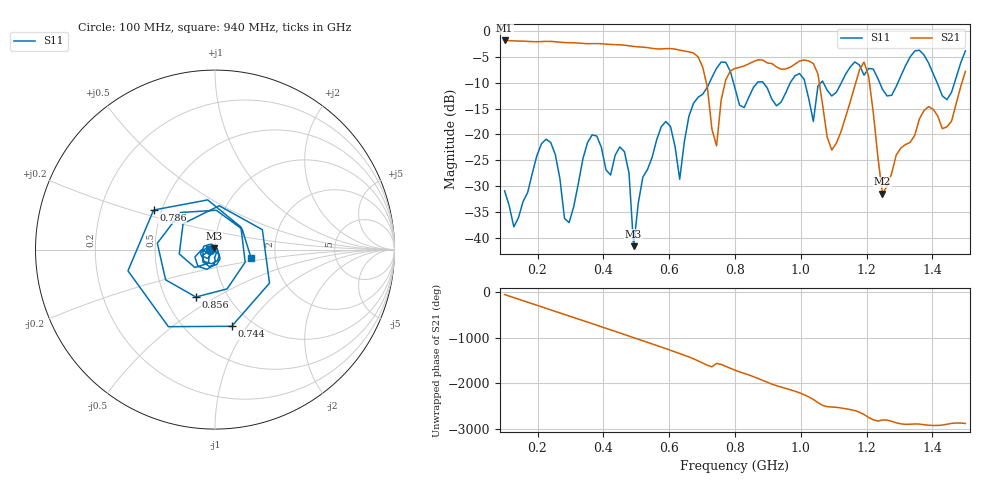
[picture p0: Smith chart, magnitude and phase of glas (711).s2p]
! NanoVNA-App
! Date: 2025-09-25 16:01:01
! Start: 100MHz Stop: 1,5GHz Points: 101
! S-Parameter data: F S11 S21 S12 S22
# Hz S RI R 50
!  Frequency  S11_Real  S11_Imag  S21_Real  S21_Imag  S12_Real  S12_Imag  S22_Real  S22_Imag
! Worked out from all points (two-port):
!   101 points, 100 MHz to 1.5 GHz, reference 50 ohm
!   highest |S21| = -1.80 dB at 100 MHz (marker M1); lowest = -31.5 dB at 1.248 GHz (marker M2)
!   |S21| within 3 dB of the highest: start of sweep to 684.6 MHz
!   lowest |S11| = -41.6 dB at 492 MHz (marker M3), VSWR 1.02, Z = 49.5 + j0.626 ohm
!   |S11| at or under -10 dB: start of sweep to 722.3 MHz; 795.4 MHz to 867.8 MHz (72.33 MHz wide, 8.7 % of centre); 886.2 MHz to 967.8 MHz (81.53 MHz wide, 8.8 % of centre)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
!   S12 and S22 are empty: the file has one direction only
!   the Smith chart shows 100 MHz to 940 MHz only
!   S11 on the Smith chart (normalised r, x): 100 MHz: 0.94, -0.01; 744 MHz: 0.80, -0.85; 786 MHz: 0.45, +0.24; 856 MHz: 0.71, -0.41; 940 MHz: 1.49, -0.14
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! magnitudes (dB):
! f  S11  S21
! 100 MHz  -30.9  -1.8
! 128 MHz  -37.9  -1.9
! 226 MHz  -20.9  -2.0
! 296 MHz  -37.1  -2.2
! 338 MHz  -24.7  -2.4
! 464 MHz  -23.3  -2.7
! 492 MHz  -41.6  -3.0
! 576 MHz  -18.5  -3.5
! 632 MHz  -28.7  -3.7
! 702 MHz  -12.2  -7.0
! 744 MHz  -7.2  -22.2
! 786 MHz  -7.8  -7.7
! 800 MHz  -11.1  -7.2
! 856 MHz  -10.9  -5.9
! 940 MHz  -13.8  -7.4
! 996 MHz  -8.2  -5.8
! 1.038 GHz  -17.5  -6.3
! 1.094 GHz  -12.6  -23.0
! 1.192 GHz  -8.5  -6.0
! 1.248 GHz  -11.3  -31.5
! 1.276 GHz  -12.4  -27.5
! 1.5 GHz  -3.8  -7.8
